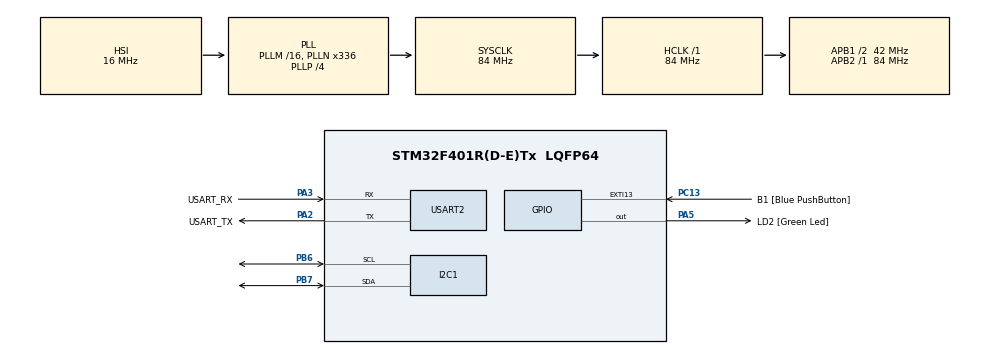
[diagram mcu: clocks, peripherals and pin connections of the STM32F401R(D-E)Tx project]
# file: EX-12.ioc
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Mcu.Family=STM32F4
Mcu.Name=STM32F401R(D-E)Tx
Mcu.Package=LQFP64
NVIC.PriorityGroup=NVIC_PRIORITYGROUP_4
PA13.GPIO_Label=TMS
PA13.Mode=Trace_Asynchronous_SW
PA13.Signal=SYS_JTMS-SWDIO
PA14.GPIO_Label=TCK
PA14.Mode=Trace_Asynchronous_SW
PA14.Signal=SYS_JTCK-SWCLK
PA2.GPIO_Label=USART_TX
PA2.GPIO_Mode=GPIO_MODE_AF_PP
PA2.GPIO_PuPd=GPIO_NOPULL
PA2.GPIO_Speed=GPIO_SPEED_FREQ_LOW
PA2.Mode=Asynchronous
PA2.Signal=USART2_TX
PA3.GPIO_Label=USART_RX
PA3.GPIO_Mode=GPIO_MODE_AF_PP
PA3.GPIO_PuPd=GPIO_NOPULL
PA3.GPIO_Speed=GPIO_SPEED_FREQ_LOW
PA3.Mode=Asynchronous
PA3.Signal=USART2_RX
PA5.GPIO_Label=LD2 [Green Led]
PA5.GPIO_Mode=GPIO_MODE_OUTPUT_PP
PA5.GPIO_PuPd=GPIO_NOPULL
PA5.GPIO_Speed=GPIO_SPEED_FREQ_LOW
PA5.Signal=GPIO_Output
PB3.GPIO_Label=SWO
PB3.Mode=Trace_Asynchronous_SW
PB3.Signal=SYS_JTDO-SWO
PB6.Mode=I2C
PB6.Signal=I2C1_SCL
PB7.Mode=I2C
PB7.Signal=I2C1_SDA
PC13-ANTI_TAMP.GPIO_Label=B1 [Blue PushButton]
PC13-ANTI_TAMP.GPIO_ModeDefaultEXTI=GPIO_MODE_IT_FALLING
PC13-ANTI_TAMP.GPIO_PuPd=GPIO_NOPULL
PC13-ANTI_TAMP.Signal=GPXTI13
PC14-OSC32_IN.Mode=LSE-External-Oscillator
PC14-OSC32_IN.Signal=RCC_OSC32_IN
PC15-OSC32_OUT.Mode=LSE-External-Oscillator
PC15-OSC32_OUT.Signal=RCC_OSC32_OUT
PH0\ -\ OSC_IN.Mode=HSE-External-Clock-Source
PH0\ -\ OSC_IN.Signal=RCC_OSC_IN
PH1\ -\ OSC_OUT.Mode=HSE-External-Clock-Source
PH1\ -\ OSC_OUT.Signal=RCC_OSC_OUT
ProjectManager.HeapSize=0x200
ProjectManager.StackSize=0x400
ProjectManager.TargetToolchain=MDK-ARM V5.32
RCC.48MHZClocksFreq_Value=48000000
RCC.AHBFreq_Value=84000000
RCC.APB1CLKDivider=RCC_HCLK_DIV2
RCC.APB1Freq_Value=42000000
RCC.APB1TimFreq_Value=84000000
RCC.APB2Freq_Value=84000000
RCC.APB2TimFreq_Value=84000000
RCC.CortexFreq_Value=84000000
RCC.HCLKFreq_Value=84000000
RCC.HSE_VALUE=8000000
RCC.HSI_VALUE=16000000
RCC.PLLN=336
RCC.PLLP=RCC_PLLP_DIV4
RCC.PLLQ=7
RCC.SYSCLKFreq_VALUE=84000000
RCC.SYSCLKSource=RCC_SYSCLKSOURCE_PLLCLK
RCC.VCOOutputFreq_Value=336000000
USART2.VirtualMode=VM_ASYNC
board=NUCLEO-F401RE

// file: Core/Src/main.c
/* USER CODE BEGIN Header */
/**
  ******************************************************************************
  * @file           : main.c
  * @brief          : BME280 readings over I2C, viewed in the debugger
  ******************************************************************************
  */
/* USER CODE END Header */
#include "main.h"

/* USER CODE BEGIN Includes */
#include "bme280.h"
/* USER CODE END Includes */

I2C_HandleTypeDef hi2c1;
UART_HandleTypeDef huart2;

/* USER CODE BEGIN PV */
struct bme280_dev dev;            /* driver state and function links */
struct bme280_data comp_data;     /* compensated T, P, H results from the driver */
struct bme280_settings settings;  /* oversampling, filter, standby */
int8_t rslt = BME280_OK;          /* return code of the last driver call */

float temperature;   /* degrees C */
float pressure;      /* hPa */
float humidity;      /* %RH */
/* USER CODE END PV */

void SystemClock_Config(void);
static void MX_GPIO_Init(void);
static void MX_I2C1_Init(void);
static void MX_USART2_UART_Init(void);

/* USER CODE BEGIN 0 */
int8_t user_i2c_read(uint8_t reg_addr, uint8_t *reg_data, uint32_t len, void *intf_ptr)
{
  uint8_t dev_addr = *(uint8_t *)intf_ptr;
  if (HAL_I2C_Mem_Read(&hi2c1, dev_addr << 1, reg_addr, I2C_MEMADD_SIZE_8BIT,
                       reg_data, len, HAL_MAX_DELAY) == HAL_OK)
    return BME280_OK;
  return BME280_E_COMM_FAIL;
}

int8_t user_i2c_write(uint8_t reg_addr, const uint8_t *reg_data, uint32_t len, void *intf_ptr)
{
  uint8_t dev_addr = *(uint8_t *)intf_ptr;
  if (HAL_I2C_Mem_Write(&hi2c1, dev_addr << 1, reg_addr, I2C_MEMADD_SIZE_8BIT,
                        (uint8_t *)reg_data, len, HAL_MAX_DELAY) == HAL_OK)
    return BME280_OK;
  return BME280_E_COMM_FAIL;
}

void user_delay_us(uint32_t period, void *intf_ptr)
{
  HAL_Delay((period / 1000) + 1);   /* HAL works in ms, so round up */
}
/* USER CODE END 0 */

int main(void)
{

  /* MCU Configuration--------------------------------------------------------*/
  HAL_Init();

  SystemClock_Config();

  MX_GPIO_Init();
  MX_I2C1_Init();
  MX_USART2_UART_Init();

  /* USER CODE BEGIN 2 */
  static uint8_t dev_addr = BME280_I2C_ADDR_PRIM;   /* 0x76 */

  /* Step 1: read the chip ID (register 0xD0), which must be 0x60 */
  uint8_t chip_id = 0;
  user_i2c_read(BME280_REG_CHIP_ID, &chip_id, 1, &dev_addr);
  if (chip_id != BME280_CHIP_ID) {
    while (1);   /* not a BME280, or no response: stop here */
  }

  /* Step 2: connect the driver to our I2C functions */
  dev.intf_ptr = &dev_addr;
  dev.intf     = BME280_I2C_INTF;
  dev.read     = user_i2c_read;
  dev.write    = user_i2c_write;
  dev.delay_us = user_delay_us;

  /* Step 3: start the sensor, which loads the calibration data */
  rslt = bme280_init(&dev);
  if (rslt != BME280_OK) {
    while (1);
  }

  /* Step 4: choose the settings */
  settings.osr_p        = BME280_OVERSAMPLING_1X;
  settings.osr_t        = BME280_OVERSAMPLING_1X;
  settings.osr_h        = BME280_OVERSAMPLING_1X;
  settings.filter       = BME280_FILTER_COEFF_OFF;
  settings.standby_time = BME280_STANDBY_TIME_1000_MS;

  rslt = bme280_set_sensor_settings(BME280_SEL_OSR_PRESS | BME280_SEL_OSR_TEMP |
                                    BME280_SEL_OSR_HUM | BME280_SEL_FILTER |
                                    BME280_SEL_STANDBY, &settings, &dev);

  /* Step 5: normal mode, the sensor measures continuously */
  rslt = bme280_set_sensor_mode(BME280_POWERMODE_NORMAL, &dev);
  /* USER CODE END 2 */

  /* Infinite loop */
  while (1)
  {

    /* USER CODE BEGIN 3 */
    rslt = bme280_get_sensor_data(BME280_ALL, &comp_data, &dev);

    if (rslt == BME280_OK) {
      temperature = (float)comp_data.temperature;          /* degrees C */
      pressure    = (float)(comp_data.pressure / 100.0);   /* Pa to hPa */
      humidity    = (float)comp_data.humidity;             /* %RH */
    }

    HAL_Delay(1000);   /* read once per second */
    /* USER CODE END 3 */
  }
}

void SystemClock_Config(void)
{
  RCC_OscInitTypeDef RCC_OscInitStruct = {0};
  RCC_ClkInitTypeDef RCC_ClkInitStruct = {0};

  __HAL_RCC_PWR_CLK_ENABLE();
  __HAL_PWR_VOLTAGESCALING_CONFIG(PWR_REGULATOR_VOLTAGE_SCALE2);

  RCC_OscInitStruct.OscillatorType = RCC_OSCILLATORTYPE_HSI;
  RCC_OscInitStruct.HSIState = RCC_HSI_ON;
  RCC_OscInitStruct.HSICalibrationValue = RCC_HSICALIBRATION_DEFAULT;
  RCC_OscInitStruct.PLL.PLLState = RCC_PLL_ON;
  RCC_OscInitStruct.PLL.PLLSource = RCC_PLLSOURCE_HSI;
  RCC_OscInitStruct.PLL.PLLM = 16;
  RCC_OscInitStruct.PLL.PLLN = 336;
  RCC_OscInitStruct.PLL.PLLP = RCC_PLLP_DIV4;
  RCC_OscInitStruct.PLL.PLLQ = 7;
  if (HAL_RCC_OscConfig(&RCC_OscInitStruct) != HAL_OK)
  {
    Error_Handler();
  }

  RCC_ClkInitStruct.ClockType = RCC_CLOCKTYPE_HCLK | RCC_CLOCKTYPE_SYSCLK
                              | RCC_CLOCKTYPE_PCLK1 | RCC_CLOCKTYPE_PCLK2;
  RCC_ClkInitStruct.SYSCLKSource = RCC_SYSCLKSOURCE_PLLCLK;
  RCC_ClkInitStruct.AHBCLKDivider = RCC_SYSCLK_DIV1;
  RCC_ClkInitStruct.APB1CLKDivider = RCC_HCLK_DIV2;
  RCC_ClkInitStruct.APB2CLKDivider = RCC_HCLK_DIV1;

  if (HAL_RCC_ClockConfig(&RCC_ClkInitStruct, FLASH_LATENCY_2) != HAL_OK)
  {
    Error_Handler();
  }
}

static void MX_I2C1_Init(void)
{

  hi2c1.Instance = I2C1;
  hi2c1.Init.ClockSpeed = 100000;
  hi2c1.Init.DutyCycle = I2C_DUTYCYCLE_2;
  hi2c1.Init.OwnAddress1 = 0;
  hi2c1.Init.AddressingMode = I2C_ADDRESSINGMODE_7BIT;
  hi2c1.Init.DualAddressMode = I2C_DUALADDRESS_DISABLE;
  hi2c1.Init.OwnAddress2 = 0;
  hi2c1.Init.GeneralCallMode = I2C_GENERALCALL_DISABLE;
  hi2c1.Init.NoStretchMode = I2C_NOSTRETCH_DISABLE;
  if (HAL_I2C_Init(&hi2c1) != HAL_OK)
  {
    Error_Handler();
  }
}

static void MX_USART2_UART_Init(void)
{

  huart2.Instance = USART2;
  huart2.Init.BaudRate = 115200;
  huart2.Init.WordLength = UART_WORDLENGTH_8B;
  huart2.Init.StopBits = UART_STOPBITS_1;
  huart2.Init.Parity = UART_PARITY_NONE;
  huart2.Init.Mode = UART_MODE_TX_RX;
  huart2.Init.HwFlowCtl = UART_HWCONTROL_NONE;
  huart2.Init.OverSampling = UART_OVERSAMPLING_16;
  if (HAL_UART_Init(&huart2) != HAL_OK)
  {
    Error_Handler();
  }
}

static void MX_GPIO_Init(void)
{
  GPIO_InitTypeDef GPIO_InitStruct = {0};

  __HAL_RCC_GPIOC_CLK_ENABLE();
  __HAL_RCC_GPIOH_CLK_ENABLE();
  __HAL_RCC_GPIOA_CLK_ENABLE();
  __HAL_RCC_GPIOB_CLK_ENABLE();

  HAL_GPIO_WritePin(LD2_GPIO_Port, LD2_Pin, GPIO_PIN_RESET);

  GPIO_InitStruct.Pin = B1_Pin;
  GPIO_InitStruct.Mode = GPIO_MODE_IT_FALLING;
  GPIO_InitStruct.Pull = GPIO_NOPULL;
  HAL_GPIO_Init(B1_GPIO_Port, &GPIO_InitStruct);

  GPIO_InitStruct.Pin = LD2_Pin;
  GPIO_InitStruct.Mode = GPIO_MODE_OUTPUT_PP;
  GPIO_InitStruct.Pull = GPIO_NOPULL;
  GPIO_InitStruct.Speed = GPIO_SPEED_FREQ_LOW;
  HAL_GPIO_Init(LD2_GPIO_Port, &GPIO_InitStruct);

}

void Error_Handler(void)
{
  __disable_irq();
  while (1)
  {
  }
}
